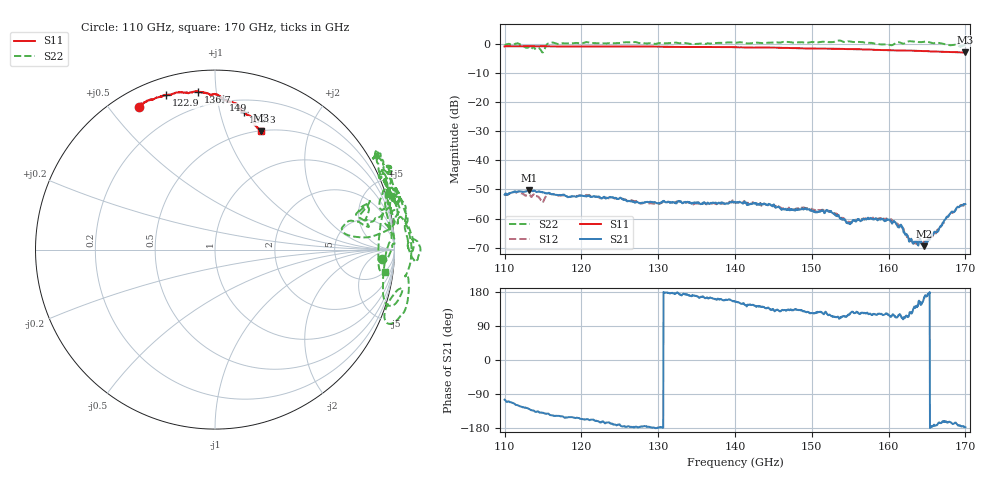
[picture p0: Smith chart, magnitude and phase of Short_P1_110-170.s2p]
!Keysight Technologies,N5247B,MY61256062,A.16.20.04
!Date: Wednesday, November 26, 2025 04:54:33
!Correction: S11(C  2-Port  )
!S21(C  2-Port  )
!S12(C  2-Port  )
!S22(C  2-Port  )
!S2P File: Measurements: S11, S21, S12, S22:
# Hz S  dB  R 50
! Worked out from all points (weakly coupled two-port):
!   1471 points, 110 GHz to 170 GHz, reference 50 ohm
!   highest |S21| = -50.28 dB at 113.2 GHz (marker M1); lowest = -69.5 dB at 164.6 GHz (marker M2)
!   lowest |S11| = -3.0 dB at 170 GHz (marker M3), VSWR 5.93, Z = 24.9 + j66.9 ohm
!   |S11| at or under -10 dB: nowhere
!   |S22| runs from -2.9 to 1.2 dB; largest |S21 - S12| = 0.0018
!   S11 on the Smith chart (normalised r, x): 110 GHz: 0.07, +0.60; 122.9 GHz: 0.08, +0.73; 136.7 GHz: 0.11, +0.89; 149 GHz: 0.19, +1.04; 159.3 GHz: 0.30, +1.18; 170 GHz: 0.50, +1.34
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1.1e11  -0.88 118.1  -51.77 -104.6  -52.17 -144.5  -0.61 -3.3
1.132245e11  -0.83 114.8  -50.28 -129.5  -51.80 -139.4  -1.05 15.4
1.152245e11  -0.85 113.0  -51.11 -141.2  -53.00 -163.0  -1.72 4.7
1.160408e11  -0.86 112.5  -51.58 -145.7  -51.56 -165.2  0.33 11.2
1.2e11  -0.88 109.9  -52.22 -155.6  -52.05 -169.9  0.17 20.3
1.22898e11  -0.89 107.6  -52.55 -163.3  -52.76 178.2  0.15 17.2
1.3e11  -0.95 101.9  -54.79 -177.7  -55.08 166.2  0.19 24.0
1.343673e11  -1.05 98.3  -54.97 168.4  -55.03 151.6  0.02 12.0
1.366531e11  -1.09 96.0  -54.97 163.2  -55.02 156.0  0.10 25.2
1.4e11  -1.15 93.5  -54.21 154.6  -54.30 144.9  0.38 29.1
1.489796e11  -1.54 86.8  -56.75 129.5  -56.21 109.5  0.46 26.4
1.5e11  -1.57 85.5  -57.44 124.3  -56.85 105.6  0.65 24.0
1.531837e11  -1.71 81.9  -58.95 112.8  -58.26 84.1  0.99 -3.6
1.575918e11  -1.98 79.9  -59.98 121.9  -59.81 85.1  0.39 19.2
1.593061e11  -2.14 78.2  -60.46 118.7  -60.14 80.7  -0.17 9.1
1.6e11  -2.18 77.4  -60.47 118.9  -60.56 75.1  -0.30 1.4
1.607755e11  -2.26 76.2  -61.03 115.0  -61.26 68.9  0.03 -17.8
1.622857e11  -2.32 74.2  -65.39 117.2  -65.46 64.8  0.48 -23.1
1.645714e11  -2.47 72.8  -69.48 160.2  -67.89 113.1  0.72 -5.0
1.670612e11  -2.72 72.7  -61.45 -162.0  -61.50 145.6  0.01 19.5
1.687347e11  -2.84 71.1  -56.87 -165.0  -56.96 144.6  -0.31 13.0
1.7e11  -2.96 68.8  -55.03 -177.5  -55.02 134.4  -0.40 -7.6
